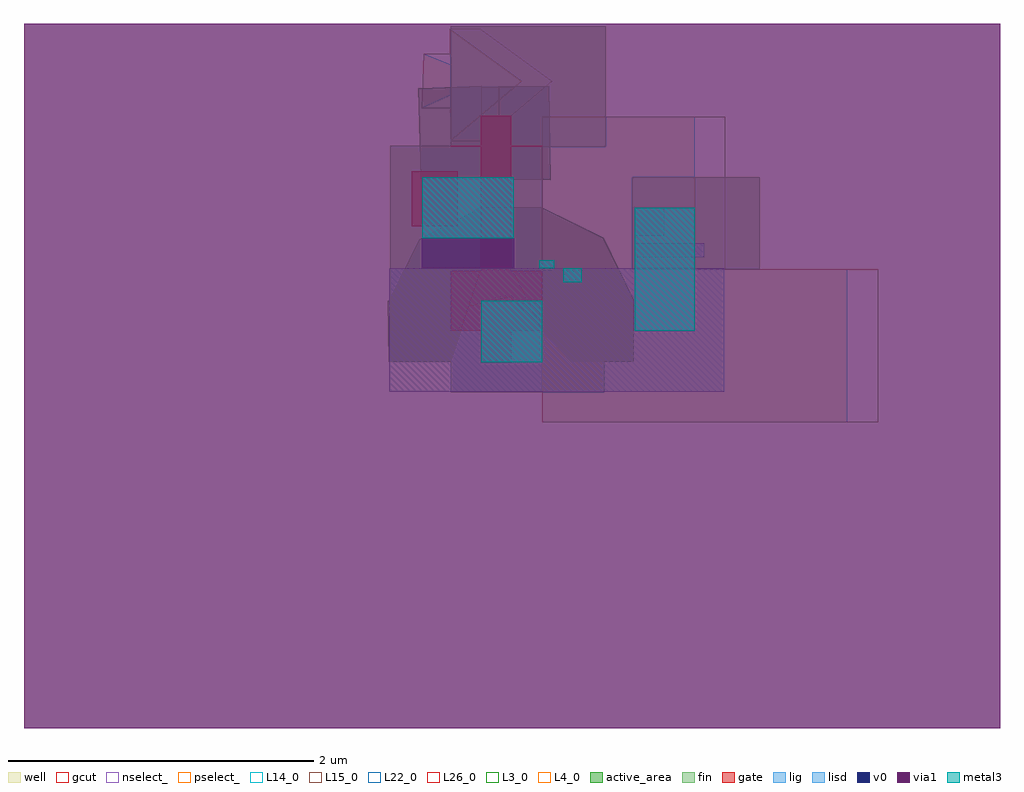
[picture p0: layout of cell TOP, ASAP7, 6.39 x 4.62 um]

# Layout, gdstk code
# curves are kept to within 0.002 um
import gdstk
lib = gdstk.Library(unit=1e-6, precision=1e-09)
def R(c, l, rs):  # rectangles x0, y0, x1, y1
    for r in rs: c.add(gdstk.rectangle(r[:2], r[2:], *l))
def P(c, l, *ps):  # polygons
    for p in ps: c.add(gdstk.Polygon(p, *l))
well = (1, 0)
fin = (2, 0)
L3_0 = (3, 0)
L4_0 = (4, 0)
L5_0 = (5, 0)
L6_0 = (6, 0)
gate = (7, 0)
L9_0 = (9, 0)
gcut = (10, 0)
active_area = (11, 0)
nselect_ = (12, 0)
pselect_ = (13, 0)
L14_0 = (14, 0)
L15_0 = (15, 0)
lig = (16, 0)
lisd = (17, 0)
v0 = (18, 0)
metal1 = (19, 0)
metal2 = (20, 0)
via1 = (21, 0)
L22_0 = (22, 0)
L23_0 = (23, 0)
L24_0 = (24, 0)
via2 = (25, 0)
L26_0 = (26, 0)
L27_0 = (27, 0)
L28_0 = (28, 0)
L29_0 = (29, 0)
metal3 = (30, 0)

top = lib.new_cell('TOP')
P(top, well, [(-0.789,2.056),(-0.776,2.413),(-0.361,2.246)],
  [(-0.6,1.84),(-0.604,2.575),(-0.135,2.232)],
  [(0,0),(0,2),(1,2),(1,1),(2,1),(2,0)])
R(top, fin, [(-0.598,0.196,0.407,0.991), (-0.402,0.388,-0.201,2.005), (-0.996,0.598,0,1.809), (0.589,1,1.425,1.603), (-0.854,1.283,-0.553,1.644), (-0.598,1.804,0.416,2.594)])
P(top, L3_0, [(0.056,1.585),(-0.795,1.594),(-0.812,2.185),(-0.795,2.185),(-0.397,2.203),(-0.397,1.792),(-0.285,1.784),(-0.285,2.198),(0.048,2.203)],
  [(0.193,0.391),(0.004,0.591),(-0.197,0.997),(-0.402,0.997),(-0.599,0.394),(-1.005,0.394),(-1.012,0.796),(-1.001,0.796),(-0.804,1.198),(-0.402,1.407),(-0.004,1.407),(0.402,1.206),(0.599,0.8),(0.599,0.394)])
R(top, L4_0, [(0,0.196,0.407,0.991), (0.589,1,1,1.603), (0,1.804,0.416,2)])
P(top, L4_0, [(-0.598,1.842),(-0.598,2.571),(-0.135,2.232)])
R(top, gate, [(-0.854,1.283,-0.553,1.644)])
P(top, gate, [(-0.402,0.388),(-0.402,0.598),(-0.598,0.598),(-0.598,0.991),(-0.402,0.991),(-0.402,1.804),(-0.598,1.804),(-0.598,1.809),(-0.402,1.809),(-0.402,2.005),(-0.201,2.005),(-0.201,1.809),(0,1.809),(0,1.804),(-0.201,1.804),(-0.201,0.991),(0,0.991),(0,0.598),(-0.201,0.598),(-0.201,0.388)])
R(top, gcut, [(1,1,1.425,1.603)])
P(top, gcut, [(-0.598,0.196),(-0.598,0.598),(-0.996,0.598),(-0.996,1.809),(-0.598,1.809),(-0.598,1.842),(-0.135,2.232),(-0.598,2.571),(-0.598,2.594),(0.416,2.594),(0.416,2),(0,2),(0,0.196)])
P(top, active_area, [(0.193,0.391),(-0.209,0.816),(-0.481,0.755),(-0.599,0.394),(-1.005,0.394),(-1.012,0.796),(-1.001,0.796),(-0.804,1.197),(-0.401,1.407),(-0.002,1.407),(0.401,1.207),(0.599,0.799),(0.599,0.394)],
  [(0.056,1.585),(-0.795,1.594),(-0.812,2.185),(-0.804,2.185),(-0.632,2.193),(-0.63,2.193),(-0.397,2.203),(-0.397,2.202),(-0.391,2.196),(0.048,2.203)])
P(top, nselect_, [(0,0),(0,2),(1,2),(1,1),(2,1),(2,0)])
P(top, pselect_, [(0,0),(0,0.196),(-0.598,0.196),(-0.598,0.598),(-0.996,0.598),(-0.996,1.809),(-0.598,1.809),(-0.602,2.139),(-0.789,2.056),(-0.776,2.413),(-0.603,2.343),(-0.604,2.575),(-0.598,2.571),(-0.598,2.594),(0.416,2.594),(0.416,2),(1,2),(1,1.603),(1.425,1.603),(1.425,1),(2,1),(2,0)])
P(top, L14_0, [(0,0),(0,0.196),(-0.598,0.196),(-0.598,0.598),(-0.996,0.598),(-0.996,0.991),(0,0.991),(0,0.196),(0.407,0.196),(0.407,0.991),(-0.996,0.991),(-0.996,1.603),(0.589,1.603),(0.589,1),(1,1),(1,1.603),(-0.996,1.603),(-0.996,1.809),(-0.598,1.809),(-0.602,2.139),(-0.789,2.056),(-0.776,2.413),(-0.603,2.343),(-0.604,2.571),(-0.598,2.571),(-0.598,1.842),(-0.41,2),(0,2),(0,1.804),(0.416,1.804),(0.416,2),(-0.41,2),(-0.135,2.232),(-0.598,2.571),(-0.604,2.571),(-0.604,2.575),(-0.598,2.571),(-0.598,2.594),(0.416,2.594),(0.416,2),(1,2),(1,1.603),(1.425,1.603),(1.425,1),(2,1),(2,0)])
P(top, L15_0, [(-0.789,2.056),(-0.776,2.413),(-0.576,2.413),(-0.161,2.246),(-0.589,2.056)],
  [(-0.6,1.84),(-0.604,2.575),(-0.404,2.575),(0.065,2.232),(-0.4,1.84)],
  [(0,0),(0,2),(1.2,2),(1.2,1),(2.2,1),(2.2,0)])
R(top, lig, [(-0.398,0.393,0,0.796), (0.607,0.597,1,1.403), (0.139,0.914,0.26,1.008), (-0.02,1.008,0.08,1.06), (-0.787,1.204,-0.185,1.602)])
R(top, lisd, [(-1.001,0.198,1.193,1.008), (0.607,1.08,1.061,1.172), (0.607,1.22,0.801,1.403)])
R(top, v0, [(-0.788,1.007,-0.184,1.205), (-0.021,1.007,0.081,1.009)])
R(top, via1, [(-3.394,-2.007,2.999,2.61)])
R(top, L22_0, [(0.606,0.596,1.001,1.009), (-0.021,1.007,0.081,1.009)])
R(top, L26_0, [(-0.598,0.196,0.407,0.991), (-0.402,0.388,-0.201,2.005), (0.589,1,1.425,1.603), (-0.854,1.283,-0.553,1.644), (-0.598,1.804,0.416,2.594)])
R(top, metal3, [(-0.398,0.393,0,0.796), (0.607,0.597,1,1.403), (0.139,0.914,0.26,1.008), (-0.02,1.008,0.08,1.06), (-0.787,1.204,-0.185,1.602)])
top.add(gdstk.FlexPath([(0.004,0.591),(-0.197,0.997)], 0, ends="flush", simple_path=True, layer=5, datatype=0))  # L5_0
top.add(gdstk.FlexPath([(-1.005,0.394),(-1.012,0.796)], 0, ends="flush", simple_path=True, layer=5, datatype=0))  # L5_0
top.add(gdstk.FlexPath([(0.402,1.206),(0.599,0.8)], 0, ends="flush", simple_path=True, layer=5, datatype=0))  # L5_0
top.add(gdstk.FlexPath([(-0.795,1.594),(-0.812,2.185)], 0, ends="flush", simple_path=True, layer=5, datatype=0))  # L5_0
top.add(gdstk.FlexPath([(0.193,0.391),(0.004,0.591)], 0, ends="flush", simple_path=True, layer=5, datatype=0))  # L5_0
top.add(gdstk.FlexPath([(0.048,2.203),(0.056,1.585)], 0, ends="flush", simple_path=True, layer=5, datatype=0))  # L5_0
top.add(gdstk.FlexPath([(-0.598,0.598),(-0.996,0.598)], 0, ends="flush", simple_path=True, layer=6, datatype=0))  # L6_0
top.add(gdstk.FlexPath([(-0.996,1.809),(-0.598,1.809)], 0, ends="flush", simple_path=True, layer=6, datatype=0))  # L6_0
top.add(gdstk.FlexPath([(0,0.991),(0.407,0.991)], 0, ends="flush", simple_path=True, layer=6, datatype=0))  # L6_0
top.add(gdstk.FlexPath([(0.416,1.804),(0,1.804)], 0, ends="flush", simple_path=True, layer=6, datatype=0))  # L6_0
top.add(gdstk.FlexPath([(-0.854,1.283),(-0.854,1.644)], 0, ends="flush", simple_path=True, layer=9, datatype=0))  # L9_0
top.add(gdstk.FlexPath([(-0.854,1.644),(-0.553,1.644)], 0, ends="flush", simple_path=True, layer=9, datatype=0))  # L9_0
top.add(gdstk.FlexPath([(-0.553,1.644),(-0.553,1.283)], 0, ends="flush", simple_path=True, layer=9, datatype=0))  # L9_0
top.add(gdstk.FlexPath([(-0.553,1.283),(-0.854,1.283)], 0, ends="flush", simple_path=True, layer=9, datatype=0))  # L9_0
top.add(gdstk.FlexPath([(-0.402,2.005),(-0.201,2.005)], 0, ends="flush", simple_path=True, layer=9, datatype=0))  # L9_0
top.add(gdstk.FlexPath([(-0.201,0.388),(-0.402,0.388)], 0, ends="flush", simple_path=True, layer=9, datatype=0))  # L9_0
top.add(gdstk.FlexPath([(0,0.393),(-0.398,0.393)], 0, ends="flush", simple_path=True, layer=19, datatype=0))  # metal1
top.add(gdstk.FlexPath([(0,0.198),(-0.398,0.198)], 0, ends="flush", simple_path=True, layer=19, datatype=0))  # metal1
top.add(gdstk.FlexPath([(-0.398,0.796),(0,0.796)], 0, ends="flush", simple_path=True, layer=19, datatype=0))  # metal1
top.add(gdstk.FlexPath([(-0.398,1.008),(0,1.008)], 0, ends="flush", simple_path=True, layer=19, datatype=0))  # metal1
top.add(gdstk.FlexPath([(0.139,1.008),(0.26,1.008)], 0, ends="flush", simple_path=True, layer=19, datatype=0))  # metal1
top.add(gdstk.FlexPath([(0.139,1.008),(0.26,1.008)], 0, ends="flush", simple_path=True, layer=19, datatype=0))  # metal1
top.add(gdstk.FlexPath([(1,0.597),(0.607,0.597)], 0, ends="flush", simple_path=True, layer=19, datatype=0))  # metal1
top.add(gdstk.FlexPath([(1,0.198),(0.607,0.198)], 0, ends="flush", simple_path=True, layer=19, datatype=0))  # metal1
top.add(gdstk.FlexPath([(1,1.008),(1,0.597)], 0, ends="flush", simple_path=True, layer=19, datatype=0))  # metal1
top.add(gdstk.FlexPath([(1.193,1.008),(1.193,0.597)], 0, ends="flush", simple_path=True, layer=19, datatype=0))  # metal1
top.add(gdstk.FlexPath([(0.607,1.403),(0.801,1.403)], 0, ends="flush", simple_path=True, layer=19, datatype=0))  # metal1
top.add(gdstk.FlexPath([(0.607,1.403),(0.801,1.403)], 0, ends="flush", simple_path=True, layer=19, datatype=0))  # metal1
top.add(gdstk.FlexPath([(0.607,1.22),(0.607,1.403)], 0, ends="flush", simple_path=True, layer=19, datatype=0))  # metal1
top.add(gdstk.FlexPath([(0.607,1.22),(0.607,1.403)], 0, ends="flush", simple_path=True, layer=19, datatype=0))  # metal1
top.add(gdstk.FlexPath([(1,1),(1,2)], 0, ends="flush", simple_path=True, layer=20, datatype=0))  # metal2
top.add(gdstk.FlexPath([(1,2),(2,1)], 0, ends="flush", simple_path=True, layer=20, datatype=0))  # metal2
top.add(gdstk.FlexPath([(2,1),(1,1)], 0, ends="flush", simple_path=True, layer=20, datatype=0))  # metal2
top.add(gdstk.FlexPath([(0.08,1.008),(-0.02,1.008)], 0, ends="flush", simple_path=True, layer=23, datatype=0))  # L23_0
top.add(gdstk.FlexPath([(0.139,1.008),(0.26,1.008)], 0, ends="flush", simple_path=True, layer=23, datatype=0))  # L23_0
top.add(gdstk.FlexPath([(0.607,1.22),(0.607,1.403)], 0, ends="flush", simple_path=True, layer=23, datatype=0))  # L23_0
top.add(gdstk.FlexPath([(0.607,1.403),(0.801,1.403)], 0, ends="flush", simple_path=True, layer=23, datatype=0))  # L23_0
top.add(gdstk.FlexPath([(0.607,1.008),(0.607,1.008)], 0, ends="flush", simple_path=True, layer=23, datatype=0))  # L23_0
top.add(gdstk.FlexPath([(1,1.008),(1,1.008)], 0, ends="flush", simple_path=True, layer=23, datatype=0))  # L23_0
top.add(gdstk.FlexPath([(-0.854,1.644),(-0.553,1.644)], 0, ends="flush", simple_path=True, layer=24, datatype=0))  # L24_0
top.add(gdstk.FlexPath([(-0.553,1.283),(-0.854,1.283)], 0, ends="flush", simple_path=True, layer=24, datatype=0))  # L24_0
top.add(gdstk.FlexPath([(-0.854,1.283),(-0.854,1.644)], 0, ends="flush", simple_path=True, layer=24, datatype=0))  # L24_0
top.add(gdstk.FlexPath([(-0.553,1.644),(-0.553,1.283)], 0, ends="flush", simple_path=True, layer=24, datatype=0))  # L24_0
top.add(gdstk.FlexPath([(-0.402,0.388),(-0.402,2.005)], 0, ends="flush", simple_path=True, layer=24, datatype=0))  # L24_0
top.add(gdstk.FlexPath([(-0.201,2.005),(-0.201,0.388)], 0, ends="flush", simple_path=True, layer=24, datatype=0))  # L24_0
top.add(gdstk.FlexPath([(-0.553,1.804),(-0.598,1.804)], 0, ends="flush", simple_path=True, layer=25, datatype=0))  # via2
top.add(gdstk.FlexPath([(-0.598,1.644),(-0.553,1.644)], 0, ends="flush", simple_path=True, layer=25, datatype=0))  # via2
top.add(gdstk.FlexPath([(-0.598,0.991),(-0.553,0.991)], 0, ends="flush", simple_path=True, layer=25, datatype=0))  # via2
top.add(gdstk.FlexPath([(-0.553,1.283),(-0.598,1.283)], 0, ends="flush", simple_path=True, layer=25, datatype=0))  # via2
top.add(gdstk.FlexPath([(-0.402,1.283),(-0.402,1.644)], 0, ends="flush", simple_path=True, layer=25, datatype=0))  # via2
top.add(gdstk.FlexPath([(-0.553,1.644),(-0.553,1.283)], 0, ends="flush", simple_path=True, layer=25, datatype=0))  # via2
top.add(gdstk.FlexPath([(0.08,1.008),(-0.02,1.008)], 0, ends="flush", simple_path=True, layer=27, datatype=0))  # L27_0
top.add(gdstk.FlexPath([(0.139,1.008),(0.26,1.008)], 0, ends="flush", simple_path=True, layer=27, datatype=0))  # L27_0
top.add(gdstk.FlexPath([(0.607,1.22),(0.607,1.403)], 0, ends="flush", simple_path=True, layer=27, datatype=0))  # L27_0
top.add(gdstk.FlexPath([(0.607,1.403),(0.801,1.403)], 0, ends="flush", simple_path=True, layer=27, datatype=0))  # L27_0
top.add(gdstk.FlexPath([(0.139,1.008),(0.26,1.008)], 0, ends="flush", simple_path=True, layer=28, datatype=0))  # L28_0
top.add(gdstk.FlexPath([(0.607,1.22),(0.607,1.403)], 0, ends="flush", simple_path=True, layer=28, datatype=0))  # L28_0
top.add(gdstk.FlexPath([(0.607,1.403),(0.801,1.403)], 0, ends="flush", simple_path=True, layer=28, datatype=0))  # L28_0
top.add(gdstk.FlexPath([(0.08,1.008),(-0.02,1.008)], 0, ends="flush", simple_path=True, layer=29, datatype=0))  # L29_0

lib.write_gds('TOP.gds')
